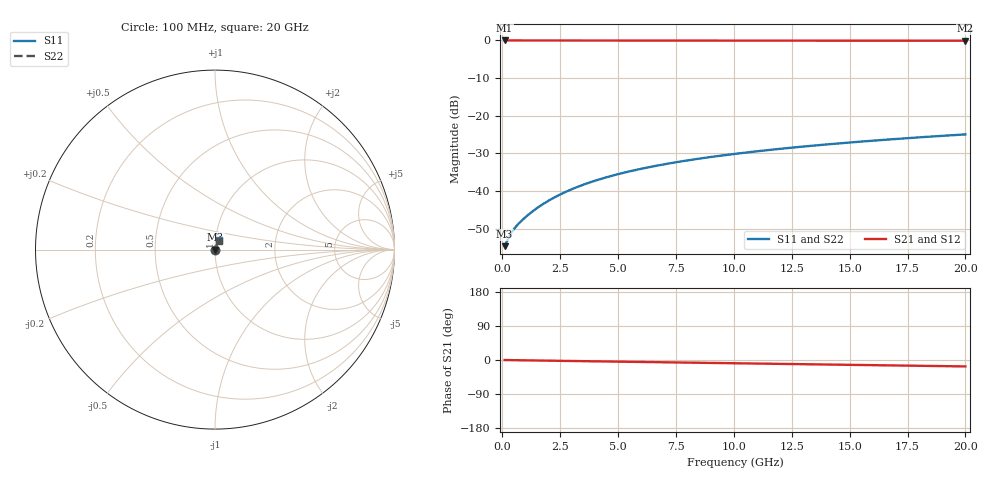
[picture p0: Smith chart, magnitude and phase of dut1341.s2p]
! Touchstone file exported from HFSS 2026.1.0
!  File:  C:/ffzhzh/LocalFiles/Ansys_Project_Files/temp_train_TMRDL_1341_1783165370_22436.aedt
!  Generated:  07:43:55 PM Jul  4, 2026
!  Design:  TMRDL
!  Project:  temp_train_TMRDL_1341_1783165370_22436
! Variables:
!  h_bsmrdl = 2um
!  h_ox = 20um
!  h_rdl = 5um
!  h_sub = 80um
!  h_tmrdl = 3.61um
!  h_tsv = 80um
!  h_via = 3um
!  l_bsmrdl = 300um
!  l_sub = 688.97um
!  l_tmrdl = 288.97um
!  m_sub = 200um
!  pitch = 24.19um
!  r_tsv = 6um
!  s_tmrdl = 10um
!  w_bsmrdl = 18um
!  w_sub = 500um
!  w_tmrdl = 18.15um
!  x_tsv_center1 = 298.045um
!  x_tsv_center2 = 616.045um
!  x_tsv_center3 = 923.165um
!  x_tsv_center4 = 1241.165um
!  x_tsv_center5 = 1548.285um
!  x_tsv_center6 = 1866.285um
# GHz S MA R 50.000000
! Terminal data exported
! Port[1] = TM_RDL1_1_T1
! Port[2] = TM_RDL1_1_T2
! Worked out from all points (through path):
!   200 points, 100 MHz to 20 GHz, reference 50 ohm
!   highest |S21| = -0.02 dB at 100 MHz (marker M1); lowest = -0.1 dB at 20 GHz (marker M2)
!   group delay of S21, straight-line fit = 2.34 ps
!   lowest |S11| = -54.6 dB at 100 MHz (marker M3), VSWR 1.00, Z = 50.2 + j0.0541 ohm
!   |S11| at or under -10 dB: start of sweep to end of sweep
!   |S22| runs from -54.6 to -25.0 dB; largest |S21 - S12| = 2.1e-15
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0.1  0.001852 16.9  0.9982 -0.1  0.9982 -0.1  0.001852 16.9
! Gamma 0 0 0 0
! Port Impedance 50 0 50 0
0.3  0.002493 35.1  0.998 -0.3  0.998 -0.3  0.002493 35.1
0.4  0.002817 39.5  0.9978 -0.4  0.9978 -0.4  0.002817 39.5
0.5  0.003116 42.8  0.9977 -0.5  0.9977 -0.5  0.003116 42.8
0.6  0.003399 45.6  0.9976 -0.6  0.9976 -0.6  0.003399 45.6
0.8  0.003945 50.4  0.9975 -0.7  0.9975 -0.7  0.003945 50.4
1  0.004493 54.4  0.9974 -0.9  0.9974 -0.9  0.004493 54.4
1.3  0.005344 59.1  0.9973 -1.2  0.9973 -1.2  0.005344 59.1
1.8  0.006832 64.3  0.9972 -1.6  0.9972 -1.6  0.006832 64.3
2.3  0.008373 67.5  0.997 -2.0  0.997 -2.0  0.008373 67.5
2.9  0.01025 69.7  0.9968 -2.5  0.9968 -2.5  0.01025 69.7
3.5  0.01213 70.9  0.9966 -3.1  0.9966 -3.1  0.01213 70.9
4.2  0.0143 71.7  0.9963 -3.7  0.9963 -3.7  0.0143 71.7
5  0.01674 72.0  0.9959 -4.4  0.9959 -4.4  0.01674 72.0
5.9  0.01944 71.9  0.9955 -5.1  0.9955 -5.1  0.01944 71.9
6.8  0.02207 71.7  0.995 -5.9  0.995 -5.9  0.02207 71.7
8.3  0.02634 71.0  0.9943 -7.2  0.9943 -7.2  0.02634 71.0
10.1  0.03128 70.0  0.9934 -8.7  0.9934 -8.7  0.03128 70.0
11.7  0.03554 69.1  0.9926 -10.0  0.9926 -10.0  0.03554 69.1
13.4  0.03998 68.0  0.9919 -11.4  0.9919 -11.4  0.03998 68.0
16.7  0.04835 66.0  0.9905 -14.2  0.9905 -14.2  0.04835 66.0
20  0.05649 63.8  0.9893 -16.9  0.9893 -16.9  0.05649 63.8
